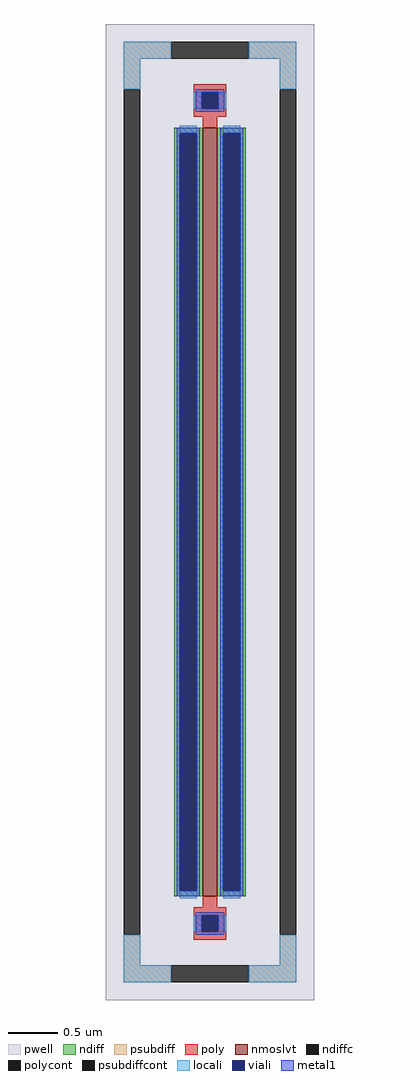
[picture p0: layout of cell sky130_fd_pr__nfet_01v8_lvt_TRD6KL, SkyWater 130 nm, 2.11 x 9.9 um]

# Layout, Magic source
magic
tech sky130A
magscale 1 2
<< pwell >>
rect -211 -990 211 990
<< nmoslvt >>
rect -15 -780 15 780
<< ndiff >>
rect -73 768 -15 780
rect -73 -768 -61 768
rect -27 -768 -15 768
rect -73 -780 -15 -768
rect 15 768 73 780
rect 15 -768 27 768
rect 61 -768 73 768
rect 15 -780 73 -768
<< ndiffc >>
rect -61 -768 -27 768
rect 27 -768 61 768
<< psubdiff >>
rect -175 920 -79 954
rect 79 920 175 954
rect -175 858 -141 920
rect 141 858 175 920
rect -175 -920 -141 -858
rect 141 -920 175 -858
rect -175 -954 -79 -920
rect 79 -954 175 -920
<< psubdiffcont >>
rect -79 920 79 954
rect -175 -858 -141 858
rect 141 -858 175 858
rect -79 -954 79 -920
<< poly >>
rect -33 852 33 868
rect -33 818 -17 852
rect 17 818 33 852
rect -33 802 33 818
rect -15 780 15 802
rect -15 -802 15 -780
rect -33 -818 33 -802
rect -33 -852 -17 -818
rect 17 -852 33 -818
rect -33 -868 33 -852
<< polycont >>
rect -17 818 17 852
rect -17 -852 17 -818
<< locali >>
rect -175 920 -79 954
rect 79 920 175 954
rect -175 858 -141 920
rect 141 858 175 920
rect -33 818 -17 852
rect 17 818 33 852
rect -61 768 -27 784
rect -61 -784 -27 -768
rect 27 768 61 784
rect 27 -784 61 -768
rect -33 -852 -17 -818
rect 17 -852 33 -818
rect -175 -920 -141 -858
rect 141 -920 175 -858
rect -175 -954 -79 -920
rect 79 -954 175 -920
<< viali >>
rect -17 818 17 852
rect -61 -768 -27 768
rect 27 -768 61 768
rect -17 -852 17 -818
<< metal1 >>
rect -29 852 29 858
rect -29 818 -17 852
rect 17 818 29 852
rect -29 812 29 818
rect -67 768 -21 780
rect -67 -768 -61 768
rect -27 -768 -21 768
rect -67 -780 -21 -768
rect 21 768 67 780
rect 21 -768 27 768
rect 61 -768 67 768
rect 21 -780 67 -768
rect -29 -818 29 -812
rect -29 -852 -17 -818
rect 17 -852 29 -818
rect -29 -858 29 -852
<< properties >>
string FIXED_BBOX -158 -937 158 937
string gencell sky130_fd_pr__nfet_01v8_lvt
string library sky130
string parameters w 7.8 l 0.150 m 1 nf 1 diffcov 100 polycov 100 guard 1 glc 1 grc 1 gtc 1 gbc 1 tbcov 100 rlcov 100 topc 1 botc 1 poverlap 0 doverlap 1 lmin 0.15 wmin 0.42 compatible {sky130_fd_pr__nfet_01v8 sky130_fd_pr__nfet_01v8_lvt  sky130_fd_bs_flash__special_sonosfet_star  sky130_fd_pr__nfet_g5v0d10v5 sky130_fd_pr__nfet_05v0_nvt  sky130_fd_pr__nfet_03v3_nvt} full_metal 1 viasrc 100 viadrn 100 viagate 100 viagb 0 viagr 0 viagl 0 viagt 0
<< end >>
